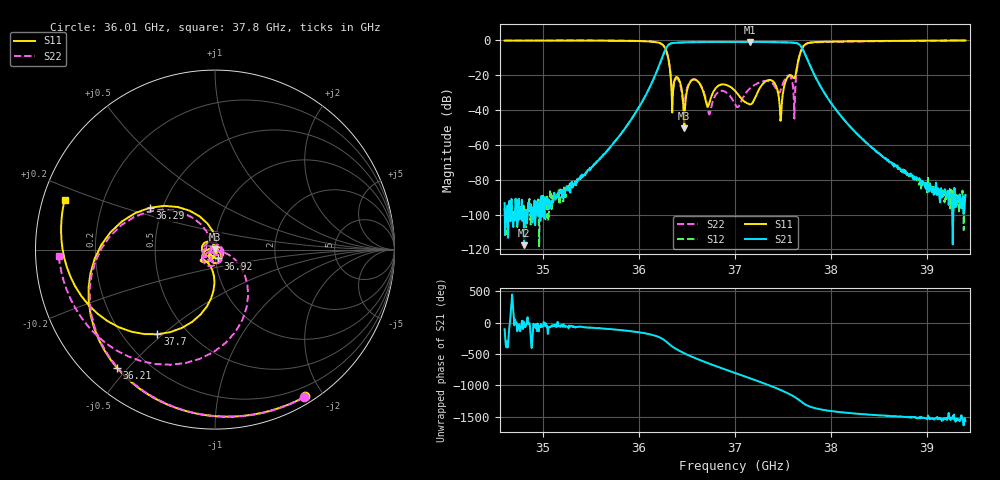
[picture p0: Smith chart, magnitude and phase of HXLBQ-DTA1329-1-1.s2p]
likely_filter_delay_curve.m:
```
function out = likely_filter_delay_curve(scatter_in, script_dir)
%%%%%%%%%%%%%%%%%%%%%%%%%%%%%%%%%%%%%%%%%%%%%%%%%%%%%%%%%%%%%%%%%%%%%%%%%%
% Build group-delay reference curve for plotting.
% Primary source: measured Touchstone file data/HXLBQ-DTA1329-1-1.s2p.
% Fallback source: previous analytic/template "likely" curve when s2p
% parsing fails or valid passband samples are insufficient.
%%%%%%%%%%%%%%%%%%%%%%%%%%%%%%%%%%%%%%%%%%%%%%%%%%%%%%%%%%%%%%%%%%%%%%%%%%

f_lo = 36.5e9;
f_hi = 37.5e9;
f0 = 37.0e9;
s2p_file = fullfile(script_dir, 'data', 'HXLBQ-DTA1329-1-1.s2p');

[f_plot, tau_ns, ok_s2p] = build_curve_from_s2p(s2p_file, f_lo, f_hi);
if ~ok_s2p
    [f_plot, tau_ns] = build_legacy_curve(scatter_in, script_dir, f_lo, f_hi, f0);
end

mask_mid = f_plot >= 36.82e9 & f_plot <= 37.18e9;
if any(mask_mid)
    tau_floor_ns = median(tau_ns(mask_mid));
else
    tau_floor_ns = min(tau_ns);
end

[tau_peak_ns, idx_peak] = max(tau_ns);
out.f_hz = f_plot(:);
out.f_ghz = f_plot(:) / 1e9;
out.tau_ns = tau_ns(:);
out.tau_floor_ns = tau_floor_ns;
out.tau_peak_ns = tau_peak_ns;
out.f0_ghz = f_plot(idx_peak) / 1e9;
end

function [f_plot, tau_ns, ok] = build_curve_from_s2p(s2p_file, f_lo, f_hi)
f_plot = linspace(f_lo, f_hi, 401).';
tau_ns = [];
ok = false;

if ~exist(s2p_file, 'file')
    return;
end

[f_hz, tau_s] = read_s21_group_delay_from_s2p(s2p_file);
if numel(f_hz) < 10 || numel(tau_s) ~= numel(f_hz)
    return;
end

mask_band = f_hz >= f_lo & f_hz <= f_hi & isfinite(tau_s);
if sum(mask_band) < 20
    return;
end

f_band = f_hz(mask_band);
tau_band_ns = tau_s(mask_band) * 1e9;

[f_band, ia] = unique(f_band, 'stable');
tau_band_ns = tau_band_ns(ia);
if numel(f_band) < 20
    return;
end

tau_band_ns = smoothdata(tau_band_ns, 'movmedian', 7);
tau_band_ns = smoothdata(tau_band_ns, 'movmean', 7);

tau_ns = interp1(f_band, tau_band_ns, f_plot, 'pchip', 'extrap');
p_low = percentile_linear(tau_band_ns, 0.02);
p_high = percentile_linear(tau_band_ns, 0.98);
tau_ns = min(max(tau_ns, p_low), p_high);

ok = all(isfinite(tau_ns));
end

function [f_hz, tau_s] = read_s21_group_delay_from_s2p(s2p_file)
fid = fopen(s2p_file, 'r');
if fid < 0
    f_hz = [];
    tau_s = [];
    return;
end

cleaner = onCleanup(@() fclose(fid));

unit_scale = 1;
data_fmt = 'DB';
buf = [];
f_hz = [];
s21_a = [];
s21_b = [];

while ~feof(fid)
    line = strtrim(fgetl(fid));
    if ~ischar(line) || isempty(line)
        continue;
    end

    if startsWith(line, '!')
        continue;
    end

    if startsWith(line, '#')
        line_upper = upper([' ' line ' ']);
        if contains(line_upper, ' GHZ ')
            unit_scale = 1e9;
        elseif contains(line_upper, ' MHZ ')
            unit_scale = 1e6;
        elseif contains(line_upper, ' KHZ ')
            unit_scale = 1e3;
        else
            unit_scale = 1;
        end

        if contains(line_upper, ' RI ')
            data_fmt = 'RI';
        elseif contains(line_upper, ' MA ')
            data_fmt = 'MA';
        else
            data_fmt = 'DB';
        end
        continue;
    end

    nums = sscanf(line, '%f').';
    if isempty(nums)
        continue;
    end

    buf = [buf, nums]; %#ok<AGROW>
    while numel(buf) >= 9
        row = buf(1:9);
        buf = buf(10:end);
        f_hz(end+1, 1) = row(1) * unit_scale; %#ok<AGROW>
        s21_a(end+1, 1) = row(4); %#ok<AGROW>
        s21_b(end+1, 1) = row(5); %#ok<AGROW>
    end
end

if isempty(f_hz)
    tau_s = [];
    return;
end

switch upper(data_fmt)
    case 'RI'
        s21 = s21_a + 1i * s21_b;
    case 'MA'
        s21 = s21_a .* exp(1i * deg2rad(s21_b));
    otherwise % DB
        s21 = 10 .^ (s21_a / 20) .* exp(1i * deg2rad(s21_b));
end

phase_rad = unwrap(angle(s21));
tau_s = -gradient(phase_rad, f_hz) / (2 * pi);

mask_ok = isfinite(f_hz) & isfinite(tau_s);
f_hz = f_hz(mask_ok);
tau_s = tau_s(mask_ok);
end

function [f_plot, tau_ns] = build_legacy_curve(scatter_in, script_dir, f_lo, f_hi, f0)
tau_peak_ns = 1.97;
tau_limit_ns = 2.30;

f_plot = linspace(f_lo, f_hi, 401).';
shape = build_shape_template(f_plot, f0, f_lo, f_hi, script_dir);

mask_mid = scatter_in.f_probe >= 36.82e9 & scatter_in.f_probe <= 37.18e9;
if any(mask_mid)
    tau_floor_ns = median(scatter_in.tau(mask_mid)) * 1e9;
else
    tau_floor_ns = 1.55;
end

tau_floor_ns = max(tau_floor_ns, 1.35);
tau_floor_ns = min(tau_floor_ns, tau_peak_ns - 0.18);

tau_ns = tau_floor_ns + (tau_peak_ns - tau_floor_ns) * shape;
tau_ns = min(tau_ns, tau_limit_ns);
end

function shape = build_shape_template(f_plot, f0, f_lo, f_hi, script_dir)
x = abs((f_plot - f0) / (0.5 * (f_hi - f_lo)));
x = min(max(x, 0), 1);
shape_analytic = sin(0.5 * pi * x) .^ 1.6;

shape = shape_analytic;

root_dir = fileparts(fileparts(fileparts(script_dir)));
template_file = fullfile(root_dir, 'thesis-code', 'cst_filter', 'groupdelay.txt');
if ~exist(template_file, 'file')
    return;
end

[f_template_hz, tau_template_ns] = read_template_curve(template_file);
if numel(f_template_hz) < 10
    return;
end

tau_left = interp1(f_template_hz, tau_template_ns, f_plot, 'pchip', NaN);
tau_right = interp1(f_template_hz, tau_template_ns, 2 * f0 - f_plot, 'pchip', NaN);
mask_ok = isfinite(tau_left) & isfinite(tau_right);
if sum(mask_ok) < round(0.8 * numel(f_plot))
    return;
end

tau_sym = 0.5 * (tau_left(mask_ok) + tau_right(mask_ok));
tau_sym = movmean(tau_sym, 21);
shape_template = normalize01(tau_sym);
shape_template = shape_template .^ 0.85;

shape(mask_ok) = 0.70 * shape_template + 0.30 * shape_analytic(mask_ok);
shape = normalize01(shape);
end

function [f_hz, tau_ns] = read_template_curve(template_file)
fid = fopen(template_file, 'r');
if fid < 0
    f_hz = [];
    tau_ns = [];
    return;
end

cleaner = onCleanup(@() fclose(fid));
data = textscan(fid, '%f%f', 'Delimiter', '\t', 'CommentStyle', '#');
f_hz = data{1} * 1e9;
tau_ns = data{2};

mask = isfinite(f_hz) & isfinite(tau_ns);
f_hz = f_hz(mask);
tau_ns = tau_ns(mask);
end

function val = percentile_linear(x, q)
x = x(:);
x = x(isfinite(x));
if isempty(x)
    val = NaN;
    return;
end

x = sort(x);
q = min(max(q, 0), 1);
pos = 1 + (numel(x) - 1) * q;
i_lo = floor(pos);
i_hi = ceil(pos);

if i_lo == i_hi
    val = x(i_lo);
else
    w = pos - i_lo;
    val = (1 - w) * x(i_lo) + w * x(i_hi);
end
end

function y = normalize01(x)
x = x(:);
x_min = min(x);
x_max = max(x);
if ~isfinite(x_min) || ~isfinite(x_max) || x_max <= x_min
    y = zeros(size(x));
else
    y = (x - x_min) / (x_max - x_min);
end
end
```
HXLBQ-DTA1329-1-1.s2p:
!Keysight Technologies,N5227B,US60211109,A.19.55.13
!Date: Tuesday, March 03, 2026 18:18:06
!Correction: S11(Cdelta 2-Port  )
!S21(Cdelta 2-Port  )
!S12(Cdelta 2-Port  )
!S22(Cdelta 2-Port  )
!S2P File: Measurements: S11, S21, S12, S22:
# Hz S  dB  R 50
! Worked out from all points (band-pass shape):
!   801 points, 34.6 GHz to 39.4 GHz, reference 50 ohm
!   highest |S21| = -0.83 dB at 37.16 GHz (marker M1); lowest = -117.6 dB at 34.8 GHz (marker M2)
!   |S21| within 3 dB of the highest: 36.29 GHz to 37.69 GHz (1.403 GHz wide, 3.79 % of centre)
!   lowest |S11| = -50.5 dB at 36.47 GHz (marker M3), VSWR 1.01, Z = 50.2 + j0.238 ohm
!   |S11| at or under -10 dB: 36.3 GHz to 37.67 GHz (1.362 GHz wide, 3.68 % of centre)
!   |S22| runs from -44.9 to 0.0 dB; largest |S21 - S12| = 0.00091
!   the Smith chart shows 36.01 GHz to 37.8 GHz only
!   S11 on the Smith chart (normalised r, x): 36.01 GHz: 0.08, -1.79; 36.21 GHz: 0.09, -0.47; 36.29 GHz: 0.42, +0.24; 36.92 GHz: 1.03, -0.10; 37.7 GHz: 0.34, -0.48; 37.8 GHz: 0.06, +0.16
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3.46e10  -0.09 76.6  -93.45 -105.1  -96.25 18.0  -0.08 79.7
3.4804e10  -0.07 64.3  -117.64 -60.0  -100.18 79.0  -0.06 67.1
3.601e10  -0.35 -58.4  -37.40 -155.6  -37.40 -155.6  -0.34 -58.9
3.6208e10  -1.35 -129.7  -14.63 130.1  -14.64 130.1  -1.39 -130.0
3.6292e10  -7.28 147.4  -3.58 46.6  -3.58 46.6  -7.28 151.0
3.6472e10  -50.46 52.2  -1.08 -128.7  -1.09 -128.7  -37.43 31.9
3.6916e10  -25.70 -70.8  -0.84 -37.6  -0.84 -37.7  -30.15 -82.3
3.7e10  -28.91 -128.3  -0.84 -83.2  -0.84 -83.2  -36.54 -154.1
3.7156e10  -36.74 31.4  -0.83 -167.8  -0.83 -167.8  -27.48 6.7
3.7696e10  -4.87 -124.3  -4.14 170.3  -4.15 170.3  -4.88 -90.7
3.7804e10  -1.09 161.6  -17.15 87.1  -17.16 87.1  -1.19 -177.8
3.94e10  -0.01 -23.2  -88.67 -131.5  -88.71 -159.8  -0.05 -23.2
